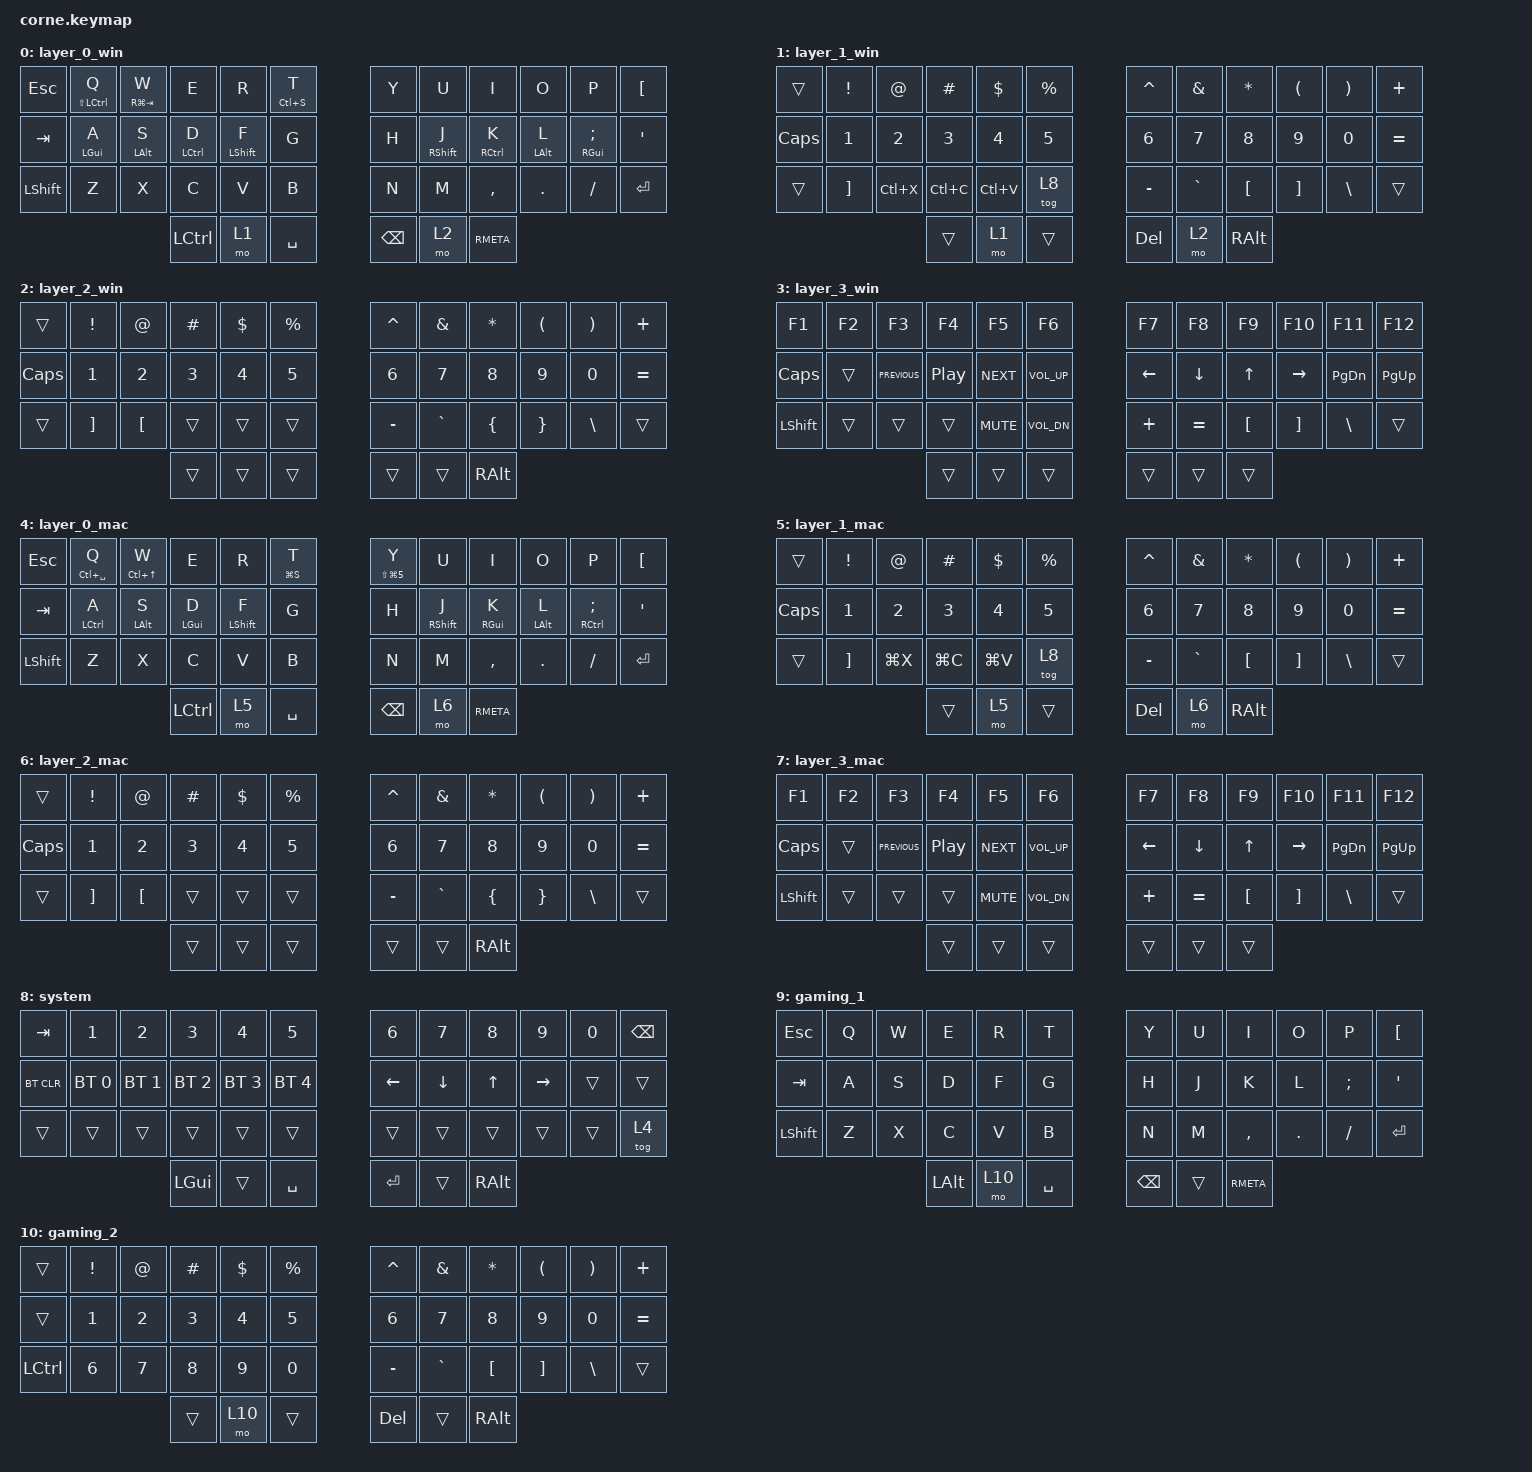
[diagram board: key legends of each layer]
/*
 * Copyright (c) 2020 The ZMK Contributors
 *
 * SPDX-License-Identifier: MIT
 */

#include <behaviors.dtsi>
#include <dt-bindings/zmk/bt.h>
#include <dt-bindings/zmk/keys.h>

&mt {
    flavor = "balanced";
    tapping-term-ms = <220>;
    require-prior-idle-ms = <125>;
};

/ {
    combos {
        compatible = "zmk,combos";

        toggle_system {
            bindings = <&tog 8>;
            key-positions = <34 35>;
            layers = <0 8>;
        };

        toggle_mac {
            bindings = <&tog 4>;
            key-positions = <35 33>;
            layers = <0 4>;
        };

        win_layer {
            bindings = <&tog 0>;
            key-positions = <35 6>;
        };

        mac_layer {
            bindings = <&tog 4>;
            key-positions = <35 7>;
        };

        gaming_layer {
            bindings = <&tog 9>;
            key-positions = <35 8>;
        };

        system_layer {
            bindings = <&tog 8>;
            key-positions = <11 35>;
        };
    };

    behaviors {
        ss_hs_modmorph: ss_hs_modmorph {
            compatible = "zmk,behavior-mod-morph";
            label = "SS_HS_MODMORPH";
            bindings = <&kp M>, <&kp RIGHT_BRACKET>;

            #binding-cells = <0>;
            mods = <(MOD_LSFT|MOD_RSFT)>;
        };

        kh_hs_tapdance: kh_hs_tapdance {
            compatible = "zmk,behavior-tap-dance";
            label = "KH_HS_TAPDANCE";
            #binding-cells = <0>;
            tapping-term-ms = <200>;
            bindings = <&kp LEFT_BRACKET>, <&kp RIGHT_BRACKET>;
        };

        hrm: hrm {
            compatible = "zmk,behavior-hold-tap";
            #binding-cells = <2>;
            flavor = "tap-preferred";
            tapping-term-ms = <200>;
            quick-tap-ms = <200>;
            require-prior-idle-ms = <125>;
            bindings = <&kp>, <&kp>;
        };
    };

    keymap {
        compatible = "zmk,keymap";

        layer_0_win {
            // -----------------------------------------------------------------------------------------
            // |  TAB |  Q  |  W  |  E  |  R  |  T  |   |  Y  |  U   |  I  |  O  |  P  | BKSP |
            // | CTRL |  A  |  S  |  D  |  F  |  G  |   |  H  |  J   |  K  |  L  |  ;  |  '   |
            // | SHFT |  Z  |  X  |  C  |  V  |  B  |   |  N  |  M   |  ,  |  .  |  /  | ESC  |
            //                    | GUI | LWR | SPC |   | ENT | RSE  | ALT |

            bindings = <
&kp ESCAPE  &hrm LS(LCTRL) Q  &hrm RG(TAB) W  &kp E        &kp R             &hrm LC(S) T    &kp Y          &kp U              &kp I        &kp O           &kp P               &kp LEFT_BRACKET
&kp TAB     &mt LEFT_GUI A    &mt LEFT_ALT S  &mt LCTRL D  &mt LEFT_SHIFT F  &kp G           &kp H          &mt RIGHT_SHIFT J  &mt RCTRL K  &mt LEFT_ALT L  &mt RIGHT_GUI SEMI  &kp SQT
&kp LSHFT   &kp Z             &kp X           &kp C        &kp V             &kp B           &kp N          &kp M              &kp COMMA    &kp DOT         &kp FSLH            &kp ENTER
                                              &kp LCTRL    &mo 1             &kp SPACE       &kp BACKSPACE  &mo 2              &kp RMETA
            >;
        };

        layer_1_win {
            // -----------------------------------------------------------------------------------------
            // |  TAB |  1  |  2  |  3  |  4  |  5  |   |  6  |  7  |  8  |  9  |  0  | BKSP |
            // | BTCLR| BT1 | BT2 | BT3 | BT4 | BT5 |   | LFT | DWN |  UP | RGT |     |      |
            // | SHFT |     |     |     |     |     |   |     |     |     |     |     |      |
            //                    | GUI |     | SPC |   | ENT |     | ALT |

            bindings = <
&trans    &kp EXCLAMATION  &kp AT_SIGN  &kp POUND  &kp DOLLAR  &kp PERCENT    &kp CARET  &kp AMPERSAND  &kp ASTERISK  &kp LEFT_PARENTHESIS  &kp RIGHT_PARENTHESIS  &kp PLUS
&kp CAPS  &kp N1           &kp N2       &kp N3     &kp N4      &kp N5         &kp N6     &kp N7         &kp N8        &kp N9                &kp N0                 &kp EQUAL
&trans    &kp RBKT         &kp LC(X)    &kp LC(C)  &kp LC(V)   &tog 8         &kp MINUS  &kp GRAVE      &kp LBKT      &kp RBKT              &kp BSLH               &trans
                                        &trans     &mo 1       &trans         &kp DEL    &mo 2          &kp RALT
            >;
        };

        layer_2_win {
            bindings = <
&trans    &kp EXCLAMATION  &kp AT_SIGN  &kp POUND  &kp DOLLAR  &kp PERCENT    &kp CARET  &kp AMPERSAND  &kp ASTERISK    &kp LEFT_PARENTHESIS  &kp RIGHT_PARENTHESIS  &kp PLUS
&kp CAPS  &kp N1           &kp N2       &kp N3     &kp N4      &kp N5         &kp N6     &kp N7         &kp N8          &kp N9                &kp N0                 &kp EQUAL
&trans    &kp RBKT         &kp LBKT     &trans     &trans      &trans         &kp MINUS  &kp GRAVE      &kp LEFT_BRACE  &kp RIGHT_BRACE       &kp BSLH               &trans
                                        &trans     &trans      &trans         &trans     &trans         &kp RALT
            >;
        };

        layer_3_win {
            // -----------------------------------------------------------------------------------------
            // |  TAB |  !  |  @  |  #  |  $  |  %  |   |  ^  |  &  |  *  |  (  |  )  | BKSP |
            // | CTRL |     |     |     |     |     |   |  -  |  =  |  [  |  ]  |  \  |  `   |
            // | SHFT |     |     |     |     |     |   |  _  |  +  |  {  |  }  | "|" |  ~   |
            //                    | GUI |     | SPC |   | ENT |     | ALT |

            bindings = <
&kp F1     &kp F2  &kp F3          &kp F4            &kp F5      &kp F6             &kp F7    &kp F8     &kp F9        &kp F10    &kp F11        &kp F12
&kp CAPS   &trans  &kp C_PREVIOUS  &kp C_PLAY_PAUSE  &kp C_NEXT  &kp C_VOLUME_UP    &kp LEFT  &kp DOWN   &kp UP_ARROW  &kp RIGHT  &kp PAGE_DOWN  &kp PG_UP
&kp LSHFT  &trans  &trans          &trans            &kp C_MUTE  &kp C_VOL_DN       &kp PLUS  &kp EQUAL  &kp LBKT      &kp RBKT   &kp BSLH       &trans
                                   &trans            &trans      &trans             &trans    &trans     &trans
            >;
        };

        layer_0_mac {
            bindings = <
&kp ESCAPE  &hrm LC(SPACE) Q  &hrm LC(UP_ARROW) W  &kp E           &kp R             &hrm LG(S) T    &hrm LS(LG(N5)) Y  &kp U              &kp I            &kp O           &kp P           &kp LEFT_BRACKET
&kp TAB     &mt LCTRL A       &mt LEFT_ALT S       &mt LEFT_GUI D  &mt LEFT_SHIFT F  &kp G           &kp H              &mt RIGHT_SHIFT J  &mt RIGHT_GUI K  &mt LEFT_ALT L  &mt RCTRL SEMI  &kp SQT
&kp LSHFT   &kp Z             &kp X                &kp C           &kp V             &kp B           &kp N              &kp M              &kp COMMA        &kp DOT         &kp FSLH        &kp ENTER
                                                   &kp LCTRL       &mo 5             &kp SPACE       &kp BACKSPACE      &mo 6              &kp RMETA
            >;
        };

        layer_1_mac {
            bindings = <
&trans    &kp EXCLAMATION  &kp AT_SIGN  &kp POUND  &kp DOLLAR  &kp PERCENT    &kp CARET  &kp AMPERSAND  &kp ASTERISK  &kp LEFT_PARENTHESIS  &kp RIGHT_PARENTHESIS  &kp PLUS
&kp CAPS  &kp N1           &kp N2       &kp N3     &kp N4      &kp N5         &kp N6     &kp N7         &kp N8        &kp N9                &kp N0                 &kp EQUAL
&trans    &kp RBKT         &kp LG(X)    &kp LG(C)  &kp LG(V)   &tog 8         &kp MINUS  &kp GRAVE      &kp LBKT      &kp RBKT              &kp BSLH               &trans
                                        &trans     &mo 5       &trans         &kp DEL    &mo 6          &kp RALT
            >;
        };

        layer_2_mac {
            bindings = <
&trans    &kp EXCLAMATION  &kp AT_SIGN  &kp POUND  &kp DOLLAR  &kp PERCENT    &kp CARET  &kp AMPERSAND  &kp ASTERISK    &kp LEFT_PARENTHESIS  &kp RIGHT_PARENTHESIS  &kp PLUS
&kp CAPS  &kp N1           &kp N2       &kp N3     &kp N4      &kp N5         &kp N6     &kp N7         &kp N8          &kp N9                &kp N0                 &kp EQUAL
&trans    &kp RBKT         &kp LBKT     &trans     &trans      &trans         &kp MINUS  &kp GRAVE      &kp LEFT_BRACE  &kp RIGHT_BRACE       &kp BSLH               &trans
                                        &trans     &trans      &trans         &trans     &trans         &kp RALT
            >;
        };

        layer_3_mac {
            bindings = <
&kp F1     &kp F2  &kp F3          &kp F4            &kp F5      &kp F6             &kp F7    &kp F8     &kp F9        &kp F10    &kp F11        &kp F12
&kp CAPS   &trans  &kp C_PREVIOUS  &kp C_PLAY_PAUSE  &kp C_NEXT  &kp C_VOLUME_UP    &kp LEFT  &kp DOWN   &kp UP_ARROW  &kp RIGHT  &kp PAGE_DOWN  &kp PG_UP
&kp LSHFT  &trans  &trans          &trans            &kp C_MUTE  &kp C_VOL_DN       &kp PLUS  &kp EQUAL  &kp LBKT      &kp RBKT   &kp BSLH       &trans
                                   &trans            &trans      &trans             &trans    &trans     &trans
            >;
        };

        system {
            bindings = <
&kp TAB     &kp N1        &kp N2        &kp N3        &kp N4        &kp N5          &kp N6    &kp N7    &kp N8    &kp N9     &kp N0  &kp BSPC
&bt BT_CLR  &bt BT_SEL 0  &bt BT_SEL 1  &bt BT_SEL 2  &bt BT_SEL 3  &bt BT_SEL 4    &kp LEFT  &kp DOWN  &kp UP    &kp RIGHT  &trans  &trans
&trans      &trans        &trans        &trans        &trans        &trans          &trans    &trans    &trans    &trans     &trans  &tog 4
                                        &kp LGUI      &trans        &kp SPACE       &kp RET   &trans    &kp RALT
            >;
        };

        gaming_1 {
            bindings = <
&kp ESCAPE  &kp Q  &kp W  &kp E         &kp R   &kp T        &kp Y          &kp U   &kp I      &kp O    &kp P     &kp LEFT_BRACKET
&kp TAB     &kp A  &kp S  &kp D         &kp F   &kp G        &kp H          &kp J   &kp K      &kp L    &kp SEMI  &kp SQT
&kp LSHFT   &kp Z  &kp X  &kp C         &kp V   &kp B        &kp N          &kp M   &kp COMMA  &kp DOT  &kp FSLH  &kp ENTER
                          &kp LEFT_ALT  &mo 10  &kp SPACE    &kp BACKSPACE  &trans  &kp RMETA
            >;
        };

        gaming_2 {
            bindings = <
&trans     &kp EXCLAMATION  &kp AT_SIGN  &kp POUND     &kp DOLLAR    &kp PERCENT     &kp CARET  &kp AMPERSAND  &kp ASTERISK  &kp LEFT_PARENTHESIS  &kp RIGHT_PARENTHESIS  &kp PLUS
&trans     &kp N1           &kp N2       &kp N3        &kp N4        &kp N5          &kp N6     &kp N7         &kp N8        &kp N9                &kp N0                 &kp EQUAL
&kp LCTRL  &kp NUMBER_6     &kp N7       &kp NUMBER_8  &kp NUMBER_9  &kp NUMBER_0    &kp MINUS  &kp GRAVE      &kp LBKT      &kp RBKT              &kp BSLH               &trans
                                         &trans        &mo 10        &trans          &kp DEL    &trans         &kp RALT
            >;
        };
    };

    conditional_layers {
        compatible = "zmk,conditional-layers";

        Layer3 {
            if-layers = <1 2>;
            then-layer = <3>;
        };

        Layer_3_mac {
            if-layers = <5 6>;
            then-layer = <7>;
        };
    };
};
